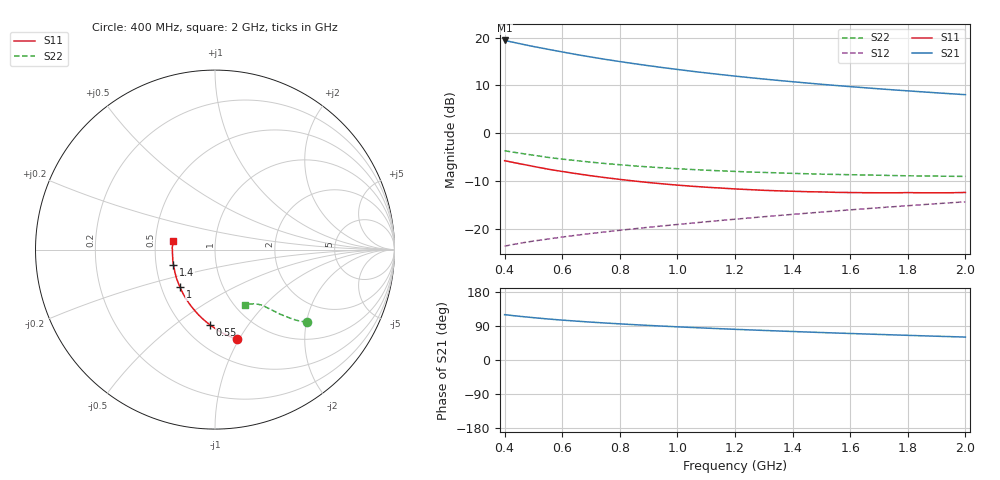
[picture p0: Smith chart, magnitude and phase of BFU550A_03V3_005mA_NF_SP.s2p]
! Filename:  P:\Prog\Test\Noise\ATS_data\Testdata_Net\06 Compressed Noise after Statistics\BFU550A_APG2013_35_C05_03p3V_005mA_NF_CM01_D.sf
! Date/Time: Tue 16/Apr/2013 15:11:26
! BFU550A_APG2013_35_C05_03p3V_1to35mA_NF_CM01_Bias4_R.sf
! Noise Parameter Data File
! BFU550A_APG2013_35_C05_03p3V_1to35mA_NF_CM01
! Date/time: Mon Apr 15 15:23:40 2013
! VAR V_out= 3.300000
! VAR I_out= 5.000000
! VAR V_in= 0.821900
! VAR I_in= 0.053810
! Device data file deembeded for feedlines and parallel
! Original file: \06 Compressed Noise after Statistics\BFU550A_APG2013_35_C05_03p3V_005mA_NF_CM01_R.sf
! Feed-files: PR017V01_150413_Feed1.s2p, PR017V01_150413_Feed2.s2p
! Parallel-file: PR017V01_150413_Par.s2p
# MHz S MA R 50
!  Freq-MHz  S11-mag  S11-arg  S21-mag  S21-arg  S12-mag  S12-arg  S22-mag  S22-arg
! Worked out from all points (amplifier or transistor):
!   37 points, 400 MHz to 2 GHz, reference 50 ohm
!   highest |S21| = 19.4 dB at 400 MHz (marker M1)
!   |S21| within 3 dB of that: start of sweep to 654.7 MHz
!   unconditionally stable (mu >= 1): 1.613 GHz to end of sweep
!   at 500 MHz: K = 0.61, MSG = 20.4 dB, |S12| = -22.6 dB
!   at 1.1 GHz: K = 0.92, MSG = 15.6 dB, |S12| = -18.6 dB
!   at 2 GHz: K = 1.01, MAG = 10.5 dB, |S12| = -14.4 dB
!   lowest NFmin = 0.60 dB at 420 MHz
!   S11 on the Smith chart (normalised r, x): 400 MHz: 0.72, -0.98; 550 MHz: 0.67, -0.68; 1 GHz: 0.62, -0.28; 1.4 GHz: 0.62, -0.11; 2 GHz: 0.62, +0.06
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400  0.5147 -76.0  9.331 119.7  0.06558 59.7  0.6541 -38.2
420  0.5006 -78.7  9.062 117.9  0.06746 59.3  0.6393 -39.0
440  0.4863 -81.2  8.799 116.2  0.0692 58.9  0.6253 -39.7
480  0.4612 -86.0  8.297 113.2  0.07254 58.3  0.599 -41.0
500  0.4484 -88.2  8.066 111.8  0.07415 58.1  0.5873 -41.5
550  0.4201 -93.9  7.551 108.3  0.07786 57.7  0.5578 -42.7
600  0.397 -99.0  7.075 105.3  0.08169 57.6  0.5349 -43.7
650  0.3763 -103.8  6.643 102.5  0.08544 57.5  0.515 -44.6
700  0.3579 -108.4  6.265 99.9  0.089 57.5  0.4966 -45.3
750  0.342 -112.9  5.918 97.6  0.09258 57.7  0.4805 -45.9
800  0.328 -117.2  5.612 95.4  0.09619 57.9  0.4669 -46.5
850  0.3154 -121.5  5.333 93.2  0.09976 58.0  0.4536 -47.1
950  0.2944 -129.3  4.85 89.4  0.107 58.5  0.4331 -48.2
1000  0.2857 -133.1  4.64 87.5  0.1106 58.7  0.4243 -48.6
1100  0.2717 -140.5  4.267 84.2  0.1181 59.2  0.4093 -49.6
1200  0.2605 -147.4  3.952 81.0  0.1256 59.5  0.3973 -50.7
1300  0.252 -153.9  3.683 78.0  0.1333 59.8  0.3879 -51.8
1400  0.2464 -160.3  3.451 75.2  0.1411 60.1  0.3792 -52.9
1500  0.2423 -166.3  3.245 72.5  0.1491 60.3  0.3722 -54.2
1600  0.2389 -171.8  3.067 70.0  0.1573 60.4  0.3672 -55.5
1750  0.2373 -179.9  2.837 66.3  0.1697 60.4  0.36 -57.5
2000  0.2394 168.3  2.526 60.5  0.1911 60.1  0.3523 -61.4
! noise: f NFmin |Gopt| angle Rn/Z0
400  0.6432  0.1891  28.34  0.1142
460  0.6193  0.1503  31.09  0.1094
600  0.724  0.1609  34.66  0.1231
800  0.7065  0.1434  65.68  0.0973
1000  0.7328  0.1468  81.16  0.0929
1200  0.759  0.1464  97.81  0.0906
1400  0.8136  0.1678  118.9  0.0788
1600  0.8228  0.1753  142.2  0.0741
1800  0.761  0.2171  156  0.0686
2000  0.8945  0.2535  170.5  0.0508
